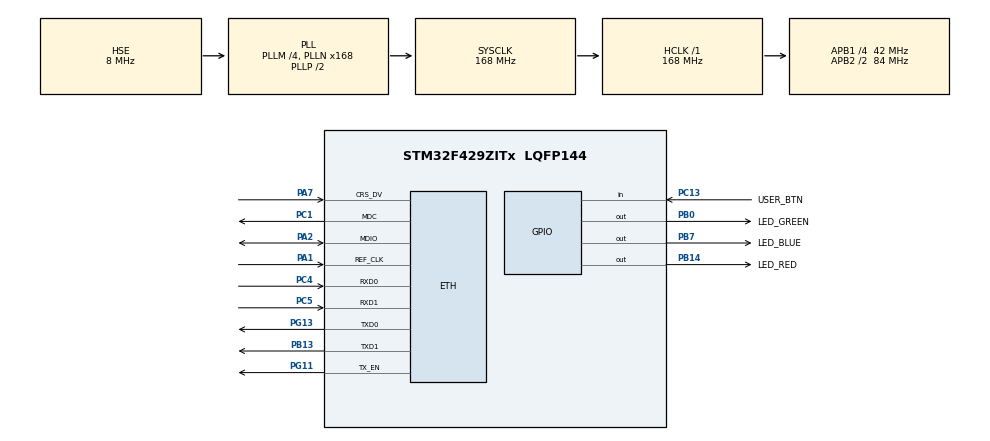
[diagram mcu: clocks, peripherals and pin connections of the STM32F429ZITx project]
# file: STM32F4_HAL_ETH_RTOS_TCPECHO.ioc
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ETH.MediaInterface=ETH_MEDIA_INTERFACE_RMII
ETH.PhyAddress=0
FREERTOS.Tasks01=defaultTask,0,256,StartDefaultTask,Default,NULL,Dynamic,NULL,NULL
FREERTOS.configCHECK_FOR_STACK_OVERFLOW=2
FREERTOS.configENABLE_FPU=1
FREERTOS.configMINIMAL_STACK_SIZE=256
FREERTOS.configTOTAL_HEAP_SIZE=32768
LWIP.LWIP_STATS=0
LWIP.LWIP_STATS_DISPLAY=0
LWIP.Version=v2.1.2_Cube
Mcu.Family=STM32F4
Mcu.Name=STM32F429ZITx
Mcu.Package=LQFP144
NVIC.ETH_IRQn=true\:5\:0\:false\:false\:true\:true\:false\:true
NVIC.PriorityGroup=NVIC_PRIORITYGROUP_4
NVIC.TIM6_DAC_IRQn=true\:0\:0\:false\:false\:true\:false\:false\:true
NVIC.TimeBase=TIM6_DAC_IRQn
NVIC.TimeBaseIP=TIM6
PA1.Mode=RMII
PA1.Signal=ETH_REF_CLK
PA13.Mode=Trace_Asynchronous_SW
PA13.Signal=SYS_JTMS-SWDIO
PA14.Mode=Trace_Asynchronous_SW
PA14.Signal=SYS_JTCK-SWCLK
PA2.Mode=RMII
PA2.Signal=ETH_MDIO
PA7.Mode=RMII
PA7.Signal=ETH_CRS_DV
PB0.GPIO_Label=LED_GREEN
PB0.GPIO_ModeDefaultOutputPP=GPIO_MODE_OUTPUT_PP
PB0.GPIO_PuPd=GPIO_NOPULL
PB0.GPIO_Speed=GPIO_SPEED_FREQ_LOW
PB0.PinState=GPIO_PIN_RESET
PB0.Signal=GPIO_Output
PB13.Mode=RMII
PB13.Signal=ETH_TXD1
PB14.GPIO_Label=LED_RED
PB14.GPIO_ModeDefaultOutputPP=GPIO_MODE_OUTPUT_PP
PB14.GPIO_PuPd=GPIO_NOPULL
PB14.GPIO_Speed=GPIO_SPEED_FREQ_LOW
PB14.PinState=GPIO_PIN_RESET
PB14.Signal=GPIO_Output
PB3.Mode=Trace_Asynchronous_SW
PB3.Signal=SYS_JTDO-SWO
PB7.GPIO_Label=LED_BLUE
PB7.GPIO_ModeDefaultOutputPP=GPIO_MODE_OUTPUT_PP
PB7.GPIO_PuPd=GPIO_NOPULL
PB7.GPIO_Speed=GPIO_SPEED_FREQ_LOW
PB7.PinState=GPIO_PIN_RESET
PB7.Signal=GPIO_Output
PC1.Mode=RMII
PC1.Signal=ETH_MDC
PC13.GPIO_Label=USER_BTN
PC13.GPIO_Mode=GPIO_MODE_INPUT
PC13.GPIO_PuPd=GPIO_NOPULL
PC13.Signal=GPIO_Input
PC14/OSC32_IN.Mode=LSE-External-Oscillator
PC14/OSC32_IN.Signal=RCC_OSC32_IN
PC15/OSC32_OUT.Mode=LSE-External-Oscillator
PC15/OSC32_OUT.Signal=RCC_OSC32_OUT
PC4.Mode=RMII
PC4.Signal=ETH_RXD0
PC5.Mode=RMII
PC5.Signal=ETH_RXD1
PG11.Mode=RMII
PG11.Signal=ETH_TX_EN
PG13.Mode=RMII
PG13.Signal=ETH_TXD0
PH0/OSC_IN.Mode=HSE-External-Clock-Source
PH0/OSC_IN.Signal=RCC_OSC_IN
PH1/OSC_OUT.Mode=HSE-External-Clock-Source
PH1/OSC_OUT.Signal=RCC_OSC_OUT
ProjectManager.HeapSize=0x200
ProjectManager.StackSize=0x800
ProjectManager.TargetToolchain=STM32CubeIDE
RCC.48MHZClocksFreq_Value=48000000
RCC.AHBFreq_Value=168000000
RCC.APB1CLKDivider=RCC_HCLK_DIV4
RCC.APB1Freq_Value=42000000
RCC.APB1TimFreq_Value=84000000
RCC.APB2CLKDivider=RCC_HCLK_DIV2
RCC.APB2Freq_Value=84000000
RCC.APB2TimCLKDivider=2
RCC.APB2TimFreq_Value=168000000
RCC.CortexFreq_Value=168000000
RCC.HCLKFreq_Value=168000000
RCC.HSE_VALUE=8000000
RCC.HSI_VALUE=16000000
RCC.PLLM=4
RCC.PLLMUL=RCC_PLL_MUL9
RCC.PLLN=168
RCC.PLLQ=7
RCC.PLLSourceVirtual=RCC_PLLSOURCE_HSE
RCC.PRESCALERUSB=RCC_USBCLKSOURCE_PLL_DIV1_5
RCC.SYSCLKFreq_VALUE=168000000
RCC.SYSCLKSource=RCC_SYSCLKSOURCE_PLLCLK
RCC.SYSCLKSourceVirtual=RCC_SYSCLKSOURCE_PLLCLK
RCC.USBFreq_Value=48000000
RCC.VCOOutputFreq_Value=336000000
VP_FREERTOS_VS_CMSIS_V1.Mode=CMSIS_V1
VP_LWIP_VS_Enabled.Mode=Enabled
VP_SYS_VS_tim6.Mode=TIM6
board=NUCLEO-F429ZI

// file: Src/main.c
/* USER CODE BEGIN Header */
/**
  ******************************************************************************
  * @file           : main.c
  * @brief          : Main program body
  ******************************************************************************
  * @attention
  *
  * <h2><center>&copy; Copyright (c) 2020 STMicroelectronics.
  * All rights reserved.</center></h2>
  *
  * This software component is licensed by ST under Ultimate Liberty license
  * SLA0044, the "License"; You may not use this file except in compliance with
  * the License. You may obtain a copy of the License at:
  *                             www.st.com/SLA0044
  *
  ******************************************************************************
  */
/* USER CODE END Header */

#include "main.h"
#include "cmsis_os.h"
#include "lwip.h"
#include "gpio.h"

void SystemClock_Config(void);
void MX_FREERTOS_Init(void);

int main(void)
{

  /* MCU Configuration--------------------------------------------------------*/

  /* Reset of all peripherals, Initializes the Flash interface and the Systick. */
  HAL_Init();

  /* Configure the system clock */
  SystemClock_Config();

  /* Initialize all configured peripherals */
  MX_GPIO_Init();

  /* Call init function for freertos objects (in freertos.c) */
  MX_FREERTOS_Init();
  /* Start scheduler */
  osKernelStart();

  /* We should never get here as control is now taken by the scheduler */
  /* Infinite loop */
  while (1)
  {

  }
}

void SystemClock_Config(void)
{
  RCC_OscInitTypeDef RCC_OscInitStruct = {0};
  RCC_ClkInitTypeDef RCC_ClkInitStruct = {0};

  /** Configure the main internal regulator output voltage
  */
  __HAL_RCC_PWR_CLK_ENABLE();
  __HAL_PWR_VOLTAGESCALING_CONFIG(PWR_REGULATOR_VOLTAGE_SCALE1);
  /** Initializes the CPU, AHB and APB busses clocks
  */
  RCC_OscInitStruct.OscillatorType = RCC_OSCILLATORTYPE_HSE;
  RCC_OscInitStruct.HSEState = RCC_HSE_BYPASS;
  RCC_OscInitStruct.PLL.PLLState = RCC_PLL_ON;
  RCC_OscInitStruct.PLL.PLLSource = RCC_PLLSOURCE_HSE;
  RCC_OscInitStruct.PLL.PLLM = 4;
  RCC_OscInitStruct.PLL.PLLN = 168;
  RCC_OscInitStruct.PLL.PLLP = RCC_PLLP_DIV2;
  RCC_OscInitStruct.PLL.PLLQ = 7;
  if (HAL_RCC_OscConfig(&RCC_OscInitStruct) != HAL_OK)
  {
    Error_Handler();
  }
  /** Initializes the CPU, AHB and APB busses clocks
  */
  RCC_ClkInitStruct.ClockType = RCC_CLOCKTYPE_HCLK|RCC_CLOCKTYPE_SYSCLK
                              |RCC_CLOCKTYPE_PCLK1|RCC_CLOCKTYPE_PCLK2;
  RCC_ClkInitStruct.SYSCLKSource = RCC_SYSCLKSOURCE_PLLCLK;
  RCC_ClkInitStruct.AHBCLKDivider = RCC_SYSCLK_DIV1;
  RCC_ClkInitStruct.APB1CLKDivider = RCC_HCLK_DIV4;
  RCC_ClkInitStruct.APB2CLKDivider = RCC_HCLK_DIV2;

  if (HAL_RCC_ClockConfig(&RCC_ClkInitStruct, FLASH_LATENCY_5) != HAL_OK)
  {
    Error_Handler();
  }
}

 /**
  * @brief  Period elapsed callback in non blocking mode
  * @note   This function is called  when TIM6 interrupt took place, inside
  * HAL_TIM_IRQHandler(). It makes a direct call to HAL_IncTick() to increment
  * a global variable "uwTick" used as application time base.
  * @param  htim : TIM handle
  * @retval None
  */
void HAL_TIM_PeriodElapsedCallback(TIM_HandleTypeDef *htim)
{
  if (htim->Instance == TIM6) {
    HAL_IncTick();
  }
}

void Error_Handler(void)
{
}

/************************ (C) COPYRIGHT STMicroelectronics *****END OF FILE****/

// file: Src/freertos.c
/* USER CODE BEGIN Header */
/**
 ******************************************************************************
 * File Name          : freertos.c
 * Description        : Code for freertos applications
 ******************************************************************************
 * @attention
 *
 * <h2><center>&copy; Copyright (c) 2020 STMicroelectronics.
 * All rights reserved.</center></h2>
 *
 * This software component is licensed by ST under Ultimate Liberty license
 * SLA0044, the "License"; You may not use this file except in compliance with
 * the License. You may obtain a copy of the License at:
 *                             www.st.com/SLA0044
 *
 ******************************************************************************
 */
/* USER CODE END Header */

#include "FreeRTOS.h"
#include "task.h"
#include "main.h"
#include "cmsis_os.h"

/* USER CODE BEGIN Includes */
#include "lwip.h"
#include "lwip/api.h"
/* USER CODE END Includes */

/* USER CODE BEGIN Variables */
osThreadId echoTaskHandle;  //echo server task handle
/* USER CODE END Variables */
osThreadId defaultTaskHandle;

/* USER CODE BEGIN FunctionPrototypes */
void StartEchoTask(void const *argument); //echo server task function
/* USER CODE END FunctionPrototypes */

void StartDefaultTask(void const * argument);

extern void MX_LWIP_Init(void);
void MX_FREERTOS_Init(void); /* (MISRA C 2004 rule 8.1) */

/* GetIdleTaskMemory prototype (linked to static allocation support) */
void vApplicationGetIdleTaskMemory( StaticTask_t **ppxIdleTaskTCBBuffer, StackType_t **ppxIdleTaskStackBuffer, uint32_t *pulIdleTaskStackSize );

/* Hook prototypes */
void vApplicationStackOverflowHook(xTaskHandle xTask, signed char *pcTaskName);

/* USER CODE BEGIN 4 */
void vApplicationStackOverflowHook(xTaskHandle xTask, signed char *pcTaskName)
{
  /* Run time stack overflow checking is performed if
   configCHECK_FOR_STACK_OVERFLOW is defined to 1 or 2. This hook function is
   called if a stack overflow is detected. */

  HAL_GPIO_WritePin(LED_RED_GPIO_Port, LED_RED_Pin, GPIO_PIN_SET); //turn on red led when detects stack overflow
}
/* USER CODE END 4 */

/* USER CODE BEGIN GET_IDLE_TASK_MEMORY */
static StaticTask_t xIdleTaskTCBBuffer;
static StackType_t xIdleStack[configMINIMAL_STACK_SIZE];

void vApplicationGetIdleTaskMemory(StaticTask_t **ppxIdleTaskTCBBuffer, StackType_t **ppxIdleTaskStackBuffer, uint32_t *pulIdleTaskStackSize)
{
  *ppxIdleTaskTCBBuffer = &xIdleTaskTCBBuffer;
  *ppxIdleTaskStackBuffer = &xIdleStack[0];
  *pulIdleTaskStackSize = configMINIMAL_STACK_SIZE;
  /* place for user code */
}
/* USER CODE END GET_IDLE_TASK_MEMORY */

void MX_FREERTOS_Init(void) {

  /* Create the thread(s) */
  /* definition and creation of defaultTask */
  osThreadDef(defaultTask, StartDefaultTask, osPriorityNormal, 0, 256);
  defaultTaskHandle = osThreadCreate(osThread(defaultTask), NULL);

}

void StartDefaultTask(void const * argument)
{
  /* init code for LWIP */
  MX_LWIP_Init();
  /* USER CODE BEGIN StartDefaultTask */
  osThreadDef(echoTask, StartEchoTask, osPriorityNormal, 0, configMINIMAL_STACK_SIZE);
  echoTaskHandle = osThreadCreate(osThread(echoTask), NULL); //run echo task

  /* Infinite loop */
  for (;;)
  {
    HAL_GPIO_TogglePin(LED_GREEN_GPIO_Port, LED_GREEN_Pin); //toggle running led
    osDelay(500);
  }
  /* USER CODE END StartDefaultTask */
}

/* USER CODE BEGIN Application */
void StartEchoTask(void const *argument)
{
  struct netconn *conn, *newconn;
  err_t err, accept_err;
  struct netbuf *buf;
  void *data;
  u16_t len;

  LWIP_UNUSED_ARG(argument);

  conn = netconn_new(NETCONN_TCP); //new tcp netconn

  if (conn != NULL)
  {
    err = netconn_bind(conn, NULL, 7); //bind to port 7

    if (err == ERR_OK)
    {
      netconn_listen(conn); //listen at port 7

      while (1)
      {
        accept_err = netconn_accept(conn, &newconn); //accept new connection

        if (accept_err == ERR_OK) //accept ok
        {
          while (netconn_recv(newconn, &buf) == ERR_OK) //receive data
          {
            do
            {
              netbuf_data(buf, &data, &len); //receive data pointer & length
              netconn_write(newconn, data, len, NETCONN_COPY); //echo back to the client

              HAL_GPIO_TogglePin(LED_BLUE_GPIO_Port, LED_BLUE_Pin); //toggle data led
            }
            while (netbuf_next(buf) >= 0); //check buffer empty

            netbuf_delete(buf); //clear buffer
          }

          netconn_close(newconn); //close session
          netconn_delete(newconn); //free memory
        }
      }
    }
    else
    {
      netconn_delete(newconn); //free memory
    }
  }
}
/* USER CODE END Application */

/************************ (C) COPYRIGHT STMicroelectronics *****END OF FILE****/
